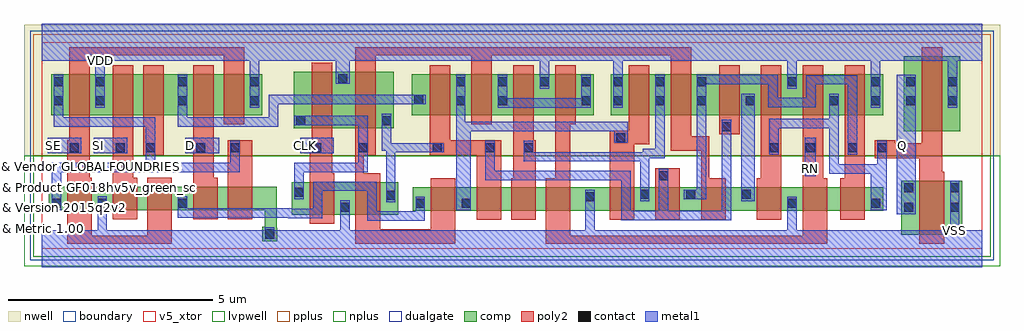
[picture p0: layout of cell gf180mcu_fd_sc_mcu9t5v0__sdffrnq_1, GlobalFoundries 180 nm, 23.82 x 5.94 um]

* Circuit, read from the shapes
.subckt gf180mcu_fd_sc_mcu9t5v0__sdffrnq_1 CLK D Q RN SE SI VDD VSS
XM1 VSS SE n1 VSUBS nfet_05v0 w=0.58u l=0.6u
XM2 n2 SI VSS VSUBS nfet_05v0 w=0.58u l=0.6u
XM3 n3 SE n2 VSUBS nfet_05v0 w=0.58u l=0.6u
XM4 n4 D n3 VSUBS nfet_05v0 w=0.58u l=0.6u
XM5 VSS n1 n4 VSUBS nfet_05v0 w=0.58u l=0.6u
XM6 VSS CLK n5 VSUBS nfet_05v0 w=0.79u l=0.6u
XM7 n6 n5 VSS VSUBS nfet_05v0 w=0.79u l=0.6u
XM8 n7 n5 n3 VSUBS nfet_05v0 w=0.58u l=0.6u
XM9 n8 n6 n7 VSUBS nfet_05v0 w=0.58u l=0.6u
XM10 n9 n10 n8 VSUBS nfet_05v0 w=0.58u l=0.6u
XM11 VSS RN n9 VSUBS nfet_05v0 w=0.58u l=0.6u
XM12 n10 n7 VSS VSUBS nfet_05v0 w=0.58u l=0.6u
XM13 n11 n6 n10 VSUBS nfet_05v0 w=0.58u l=0.6u
XM14 n12 n5 n11 VSUBS nfet_05v0 w=0.58u l=0.6u
XM15 VSS n13 n12 VSUBS nfet_05v0 w=0.58u l=0.6u
XM16 n14 RN VSS VSUBS nfet_05v0 w=0.58u l=0.6u
XM17 n13 n11 n14 VSUBS nfet_05v0 w=0.58u l=0.6u
XM18 VSS n13 Q VSUBS nfet_05v0 w=1.32u l=0.6u
XM19 VDD SE n1 n15 pfet_05v0 w=1u l=0.5u
XM20 n16 SI VDD n15 pfet_05v0 w=1u l=0.5u
XM21 n17 n1 n16 n15 pfet_05v0 w=1u l=0.5u
XM22 n18 D n17 n15 pfet_05v0 w=1u l=0.5u
XM23 VDD SE n18 n15 pfet_05v0 w=1u l=0.5u
XM24 VDD CLK n5 n15 pfet_05v0 w=1.38u l=0.5u
XM25 n6 n5 VDD n15 pfet_05v0 w=1.38u l=0.5u
XM26 n7 n6 n17 n15 pfet_05v0 w=1u l=0.5u
XM27 n19 n5 n7 n15 pfet_05v0 w=1u l=0.5u
XM28 VDD n10 n19 n15 pfet_05v0 w=1u l=0.5u
XM29 n19 RN VDD n15 pfet_05v0 w=1u l=0.5u
XM30 n10 n7 VDD n15 pfet_05v0 w=1u l=0.5u
XM31 n11 n5 n10 n15 pfet_05v0 w=1u l=0.5u
XM32 n12 n6 n11 n15 pfet_05v0 w=1u l=0.5u
XM33 VDD n13 n12 n15 pfet_05v0 w=1u l=0.5u
XM34 n13 RN VDD n15 pfet_05v0 w=1u l=0.5u
XM35 VDD n11 n13 n15 pfet_05v0 w=1u l=0.5u
XM36 VDD n13 Q n15 pfet_05v0 w=1.83u l=0.5u
.ends

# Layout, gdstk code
import gdstk
lib = gdstk.Library(unit=1e-6, precision=1e-09)
def R(c, l, rs):  # rectangles x0, y0, x1, y1
    for r in rs: c.add(gdstk.rectangle(r[:2], r[2:], *l))
def A(c, l, x, y, w, h, nx, ny, dx, dy):  # array of equal rectangles
    R(c, l, [(x+i*dx, y+j*dy, x+i*dx+w, y+j*dy+h) for i in range(nx) for j in range(ny)])
def P(c, l, *ps):  # polygons
    for p in ps: c.add(gdstk.Polygon(p, *l))
boundary = (0, 0)
nwell = (21, 0)
comp = (22, 0)
poly2 = (30, 0)
pplus = (31, 0)
nplus = (32, 0)
contact = (33, 0)
metal1 = (34, 0)
dualgate = (55, 0)
v5_xtor = (112, 1)
lvpwell = (204, 0)

gf180mcu_fd_sc_mcu9t5v0_ = lib.new_cell('gf180mcu_fd_sc_mcu9t5v0__sdffrnq_1')
R(gf180mcu_fd_sc_mcu9t5v0_, boundary, [(0,0,22.96,5.04)])
R(gf180mcu_fd_sc_mcu9t5v0_, nwell, [(-0.43,2.265,23.39,5.47)])
R(gf180mcu_fd_sc_mcu9t5v0_, comp, [(20.985,0.345,22.465,1.665), (6.1,0.83,8.7,1.62), (9.06,0.925,20.535,1.505), (21.035,2.87,22.415,4.7), (6.15,2.945,8.6,4.325), (0.23,3.26,5.38,4.26), (9.03,3.26,13.47,4.26), (13.89,3.26,20.535,4.26)])
P(gf180mcu_fd_sc_mcu9t5v0_, comp, [(5.385,0.18),(5.385,0.54),(5.44,0.54),(5.44,0.935),(0.18,0.935),(0.18,1.515),(5.74,1.515),(5.74,0.5),(5.745,0.5),(5.745,0.18)])
R(gf180mcu_fd_sc_mcu9t5v0_, poly2, [(14.98,0.705,15.58,1.965), (4.54,0.715,5.14,2.645), (2.48,2.285,2.98,4.48), (16.535,2.8,17.035,4.48)])
P(gf180mcu_fd_sc_mcu9t5v0_, poly2, [(1.74,0.715),(1.74,4.48),(2.24,4.48),(2.24,1.735),(2.34,1.735),(2.34,0.715)],
  [(3.7,0.715),(3.7,4.48),(4.2,4.48),(4.2,1.735),(4.3,1.735),(4.3,0.715)],
  [(0.62,0.12),(0.62,2.645),(0.67,2.645),(0.67,4.92),(4.94,4.92),(4.94,3.04),(4.44,3.04),(4.44,4.72),(1.17,4.72),(1.17,1.735),(1.22,1.735),(1.22,0.32),(2.58,0.32),(2.58,1.735),(3.18,1.735),(3.18,0.12)],
  [(6.54,0.61),(6.54,2.645),(6.59,2.645),(6.59,4.545),(7.09,4.545),(7.09,1.84),(7.14,1.84),(7.14,0.61)],
  [(10.62,0.705),(10.62,2.285),(9.47,2.285),(9.47,4.48),(9.97,4.48),(9.97,2.645),(11.22,2.645),(11.22,0.705)],
  [(11.46,0.705),(11.46,1.725),(11.51,1.725),(11.51,4.48),(12.01,4.48),(12.01,2.645),(12.06,2.645),(12.06,0.705)],
  [(13.86,0.705),(13.86,2.885),(14.33,2.885),(14.33,4.48),(14.83,4.48),(14.83,2.545),(14.46,2.545),(14.46,0.705)],
  [(7.66,0.12),(7.66,4.92),(15.85,4.92),(15.85,2.75),(16.3,2.75),(16.3,1.725),(16.7,1.725),(16.7,0.705),(16.1,0.705),(16.1,2.39),(15.35,2.39),(15.35,4.72),(10.99,4.72),(10.99,3.04),(10.49,3.04),(10.49,4.72),(8.16,4.72),(8.16,2.285),(7.86,2.285),(7.86,1.84),(8.26,1.84),(8.26,0.48),(9.5,0.48),(9.5,1.725),(10.1,1.725),(10.1,0.12)],
  [(17.455,0.705),(17.455,1.725),(17.555,1.725),(17.555,4.48),(18.055,4.48),(18.055,0.705)],
  [(12.3,0.12),(12.3,1.725),(12.53,1.725),(12.53,4.48),(13.03,4.48),(13.03,3.04),(12.9,3.04),(12.9,0.32),(18.575,0.32),(18.575,4.48),(19.075,4.48),(19.075,1.725),(19.175,1.725),(19.175,0.12)],
  [(19.495,0.705),(19.495,1.725),(19.595,1.725),(19.595,4.48),(20.095,4.48),(20.095,0.705)],
  [(21.425,0.125),(21.425,2.21),(20.335,2.21),(20.335,2.645),(20.835,2.645),(20.835,2.57),(21.475,2.57),(21.475,4.92),(21.975,4.92),(21.975,1.885),(22.025,1.885),(22.025,0.125)])
R(gf180mcu_fd_sc_mcu9t5v0_, pplus, [(-0.2,2.265,23.16,5.24)])
R(gf180mcu_fd_sc_mcu9t5v0_, nplus, [(-0.2,-0.2,23.16,2.265)])
A(gf180mcu_fd_sc_mcu9t5v0_, contact, 13.96, 3.5, 0.22, 0.22, 3, 2, 1.02, 0.47)
A(gf180mcu_fd_sc_mcu9t5v0_, contact, 10.12, 3.97, 0.22, 0.22, 4, 1, 1.02, 0)
R(gf180mcu_fd_sc_mcu9t5v0_, contact, [(5.455,0.25,5.675,0.47), (7.29,0.9,7.51,1.12), (21.055,0.905,21.275,1.125), (22.175,0.905,22.395,1.125), (9.13,0.995,9.35,1.215), (18.205,0.995,18.425,1.215), (0.25,1.005,0.47,1.225), (1.37,1.005,1.59,1.225), (3.33,1.005,3.55,1.225), (10.25,1.005,10.47,1.225), (20.245,1.005,20.465,1.225), (13.27,1.16,13.49,1.38), (8.41,1.2,8.63,1.42), (14.61,1.215,14.83,1.435), (15.73,1.215,15.95,1.435), (17.085,1.215,17.305,1.435), (6.17,1.27,6.39,1.49), (21.055,1.375,21.275,1.595), (22.175,1.375,22.395,1.595), (15.07,1.675,15.29,1.895), (0.69,2.355,0.91,2.575), (1.81,2.355,2.03,2.575), (2.55,2.355,2.77,2.575), (3.77,2.355,3.99,2.575), (4.61,2.355,4.83,2.575), (6.61,2.355,6.83,2.575), (7.73,2.355,7.95,2.575), (9.54,2.355,9.76,2.575), (10.83,2.355,11.05,2.575), (11.77,2.355,11.99,2.575), (17.765,2.355,17.985,2.575), (18.645,2.355,18.865,2.575), (19.685,2.355,19.905,2.575), (20.405,2.355,20.625,2.575), (14.03,2.595,14.25,2.815), (16.605,2.87,16.825,3.09), (6.22,3.015,6.44,3.235), (8.31,3.015,8.53,3.235), (0.3,3.5,0.52,3.72), (1.32,3.5,1.54,3.72), (3.33,3.5,3.55,3.72), (5.09,3.5,5.31,3.72), (10.12,3.5,10.34,3.72), (11.14,3.5,11.36,3.72), (13.18,3.5,13.4,3.72), (17.185,3.5,17.405,3.72), (19.225,3.5,19.445,3.72), (20.245,3.5,20.465,3.72), (21.105,3.5,21.325,3.72), (22.125,3.5,22.345,3.72), (9.1,3.53,9.32,3.75), (0.3,3.97,0.52,4.19), (1.32,3.97,1.54,4.19), (3.33,3.97,3.55,4.19), (5.09,3.97,5.31,4.19), (18.205,3.97,18.425,4.19), (20.245,3.97,20.465,4.19), (21.105,3.97,21.325,4.19), (22.125,3.97,22.345,4.19), (7.24,4.035,7.46,4.255)])
R(gf180mcu_fd_sc_mcu9t5v0_, metal1, [(20.87,0.845,21.33,4.25), (17.08,1.155,17.41,3.78), (18.63,1.77,18.89,2.71), (0.15,2.33,0.97,2.71), (1.27,2.33,2.09,2.71), (3.51,2.33,4.33,2.71), (6.31,2.33,7.13,2.71)])
P(gf180mcu_fd_sc_mcu9t5v0_, metal1, [(0.245,0.945),(0.245,2.1),(2.545,2.1),(2.545,2.98),(0.295,2.98),(0.295,4.25),(0.525,4.25),(0.525,3.21),(2.775,3.21),(2.775,2.1),(4.605,2.1),(4.605,2.635),(4.835,2.635),(4.835,1.87),(0.475,1.87),(0.475,0.945)],
  [(6.165,1.21),(6.165,2.1),(7.725,2.1),(7.725,3.01),(6.16,3.01),(6.16,3.24),(7.955,3.24),(7.955,1.87),(6.395,1.87),(6.395,1.21)],
  [(7.945,0.68),(7.945,1.41),(6.855,1.41),(6.855,0.75),(6.025,0.75),(6.025,0.76),(3.325,0.76),(3.325,1.285),(3.555,1.285),(3.555,0.99),(6.095,0.99),(6.095,0.98),(6.625,0.98),(6.625,1.64),(8.175,1.64),(8.175,0.91),(9.125,0.91),(9.125,1.275),(9.355,1.275),(9.355,0.68)],
  [(3.325,2.98),(3.325,4.25),(3.555,4.25),(3.555,3.21),(5.545,3.21),(5.545,3.755),(9.38,3.755),(9.38,3.525),(5.775,3.525),(5.775,2.98)],
  [(8.405,1.14),(8.405,2.39),(8.305,2.39),(8.305,3.295),(8.535,3.295),(8.535,2.58),(9.82,2.58),(9.82,2.35),(8.635,2.35),(8.635,1.14)],
  [(11.135,3.44),(11.135,4.25),(11.365,4.25),(11.365,3.67),(13.175,3.67),(13.175,4.25),(13.405,4.25),(13.405,3.44)],
  [(10.115,0.945),(10.115,4.25),(10.345,4.25),(10.345,3.095),(14.31,3.095),(14.31,2.59),(13.97,2.59),(13.97,2.865),(10.475,2.865),(10.475,0.945)],
  [(14.605,1.155),(14.605,2.13),(11.765,2.13),(11.765,2.635),(11.995,2.635),(11.995,2.36),(14.665,2.36),(14.665,2.435),(14.975,2.435),(14.975,4.25),(15.205,4.25),(15.205,2.205),(14.835,2.205),(14.835,1.155)],
  [(14.145,0.695),(14.145,1.67),(10.825,1.67),(10.825,2.635),(11.055,2.635),(11.055,1.9),(14.375,1.9),(14.375,0.925),(15.065,0.925),(15.065,1.955),(15.295,1.955),(15.295,0.925),(16.6,0.925),(16.6,3.15),(16.83,3.15),(16.83,0.695)],
  [(15.67,1.21),(15.67,1.44),(15.995,1.44),(15.995,4.25),(17.97,4.25),(17.97,3.68),(18.66,3.68),(18.66,4.24),(19.91,4.24),(19.91,2.295),(19.68,2.295),(19.68,4.01),(18.89,4.01),(18.89,3.45),(17.74,3.45),(17.74,4.02),(16.225,4.02),(16.225,1.21)],
  [(20.24,0.945),(20.24,1.835),(19.22,1.835),(19.22,2.94),(17.99,2.94),(17.99,2.295),(17.76,2.295),(17.76,3.17),(19.22,3.17),(19.22,3.78),(19.45,3.78),(19.45,2.065),(20.4,2.065),(20.4,2.635),(20.63,2.635),(20.63,0.945)],
  [(0,-0.45),(0,0.45),(1.365,0.45),(1.365,1.285),(1.595,1.285),(1.595,0.45),(5.45,0.45),(5.45,0.53),(5.68,0.53),(5.68,0.45),(7.285,0.45),(7.285,1.18),(7.515,1.18),(7.515,0.45),(13.265,0.45),(13.265,1.44),(13.495,1.44),(13.495,0.45),(18.2,0.45),(18.2,1.275),(18.43,1.275),(18.43,0.45),(22.17,0.45),(22.17,1.655),(22.4,1.655),(22.4,0.45),(22.96,0.45),(22.96,-0.45)],
  [(1.315,3.44),(1.315,4.59),(0,4.59),(0,5.49),(22.96,5.49),(22.96,4.59),(22.35,4.59),(22.35,3.44),(22.12,3.44),(22.12,4.59),(20.47,4.59),(20.47,3.44),(20.24,3.44),(20.24,4.59),(18.43,4.59),(18.43,3.91),(18.2,3.91),(18.2,4.59),(14.185,4.59),(14.185,3.44),(13.955,3.44),(13.955,4.59),(12.385,4.59),(12.385,3.91),(12.155,3.91),(12.155,4.59),(7.52,4.59),(7.52,4.03),(7.18,4.03),(7.18,4.59),(5.315,4.59),(5.315,3.44),(5.085,3.44),(5.085,4.59),(1.545,4.59),(1.545,3.44)])
R(gf180mcu_fd_sc_mcu9t5v0_, dualgate, [(-0.28,-0.28,23.24,5.32)])
R(gf180mcu_fd_sc_mcu9t5v0_, v5_xtor, [(0,0,22.96,5.04)])
R(gf180mcu_fd_sc_mcu9t5v0_, lvpwell, [(-0.43,-0.43,23.39,2.265)])
gf180mcu_fd_sc_mcu9t5v0_.add(gdstk.Label('CLK', (6.44,2.52), layer=34, texttype=10))
gf180mcu_fd_sc_mcu9t5v0_.add(gdstk.Label('D', (3.64,2.52), layer=34, texttype=10))
gf180mcu_fd_sc_mcu9t5v0_.add(gdstk.Label('Q', (21,2.52), layer=34, texttype=10))
gf180mcu_fd_sc_mcu9t5v0_.add(gdstk.Label('RN', (18.76,1.96), layer=34, texttype=10))
gf180mcu_fd_sc_mcu9t5v0_.add(gdstk.Label('SE', (0.28,2.52), layer=34, texttype=10))
gf180mcu_fd_sc_mcu9t5v0_.add(gdstk.Label('SI', (1.4,2.52), layer=34, texttype=10))
gf180mcu_fd_sc_mcu9t5v0_.add(gdstk.Label('VDD', (1.43,4.59), layer=34, texttype=10))
gf180mcu_fd_sc_mcu9t5v0_.add(gdstk.Label('VSS', (22.285,0.45), layer=34, texttype=10))
gf180mcu_fd_sc_mcu9t5v0_.add(gdstk.Label('& Vendor GLOBALFOUNDRIES', (0,2), layer=63, texttype=63))
gf180mcu_fd_sc_mcu9t5v0_.add(gdstk.Label('& Product GF018hv5v_green_sc9', (0,1.5), layer=63, texttype=63))
gf180mcu_fd_sc_mcu9t5v0_.add(gdstk.Label('& Version 2015q2v2', (0,1), layer=63, texttype=63))
gf180mcu_fd_sc_mcu9t5v0_.add(gdstk.Label('& Metric 1.00', (0,0.5), layer=63, texttype=63))

lib.write_gds('gf180mcu_fd_sc_mcu9t5v0__sdffrnq_1.gds')
